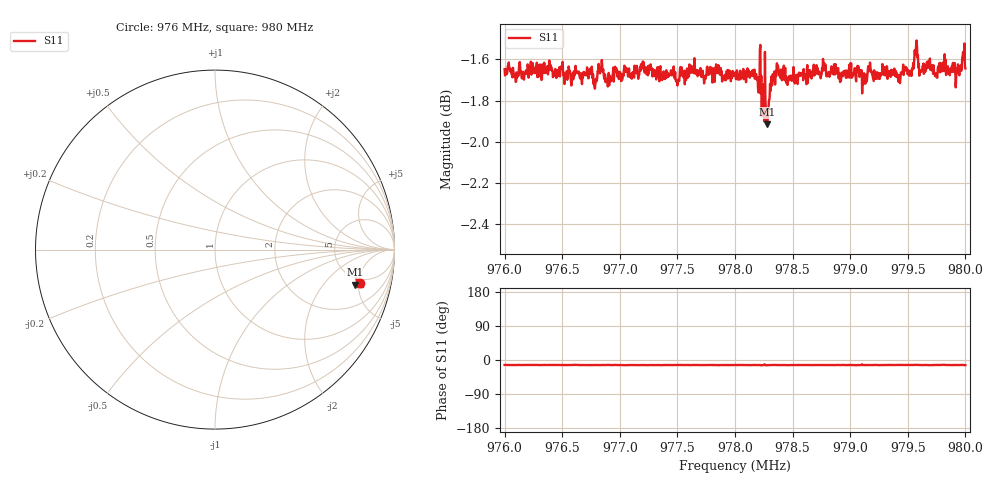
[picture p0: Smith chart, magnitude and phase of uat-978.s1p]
! Calibrated averaged scanner-service zoom
# Hz S RI R 50
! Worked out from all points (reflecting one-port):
!   1001 points, 976 MHz to 980 MHz, reference 50 ohm
!   lowest |S11| = -1.9 dB at 978.28 MHz (marker M1), VSWR 9.11, Z = 204 - j223 ohm
!   phase of S11 starts at -13 deg and turns -0 deg over the sweep
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9.76e8  0.8061 -0.1863
9.765e8  0.8058 -0.1892
9.76616e8  0.8082 -0.1837
9.76732e8  0.8033 -0.1941
9.76836e8  0.8056 -0.1919
9.769e8  0.8007 -0.1868
9.77e8  0.8039 -0.1898
9.77192e8  0.8074 -0.1893
9.775e8  0.7987 -0.1844
9.77856e8  0.8063 -0.1933
9.78e8  0.8036 -0.188
9.782e8  0.7957 -0.1912
9.7828e8  0.7781 -0.1952
9.78356e8  0.8024 -0.1873
9.785e8  0.8022 -0.1899
9.79e8  0.8075 -0.1917
9.79052e8  0.7985 -0.1938
9.79104e8  0.7994 -0.1642
9.79256e8  0.7998 -0.1931
9.795e8  0.8038 -0.1851
9.79532e8  0.8028 -0.1863
9.79568e8  0.8133 -0.1854
9.7962e8  0.8043 -0.191
9.79704e8  0.8051 -0.192
9.7974e8  0.8021 -0.1894
9.79804e8  0.809 -0.1792
9.79852e8  0.8036 -0.1886
9.8e8  0.8051 -0.1918
